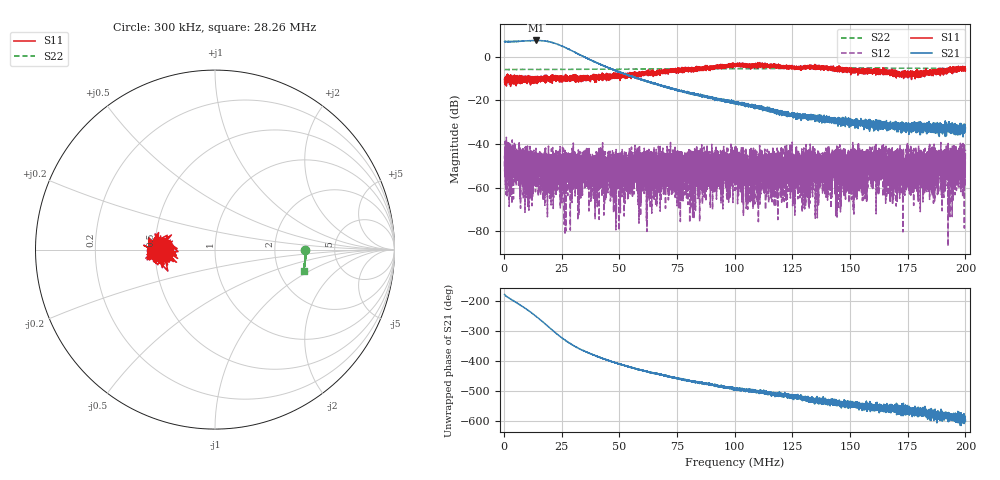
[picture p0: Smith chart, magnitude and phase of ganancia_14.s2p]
# Hz S DB R 50
! CMT, M5065, 19127446, 24.2.4/2
! Date: 10/29/2024 12:07:20 PM
! Data: Format (Calibration Info)
! Freq	S11:dB/Ang(F2)	S21:dB/Ang(F2)	S12:dB/Ang(F2)	S22:dB/Ang(F2)
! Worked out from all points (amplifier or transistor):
!   9000 points, 300 kHz to 200 MHz, reference 50 ohm
!   highest |S21| = 7.3 dB at 14.1 MHz (marker M1)
!   |S21| within 3 dB of that: start of sweep to 26.06 MHz
!   unconditionally stable (mu >= 1): start of sweep to end of sweep
!   at 33.59 MHz: K = 64.15, MAG = 2.3 dB, |S12| = -46.3 dB
!   at 100.2 MHz: K = 811.96, MAG = -17.4 dB, |S12| = -50.7 dB
!   at 200 MHz: K = 1596.99, MAG = -30.1 dB, |S12| = -42.7 dB
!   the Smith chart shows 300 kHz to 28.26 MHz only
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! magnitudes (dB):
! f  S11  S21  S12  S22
! 300 kHz  -10.4  6.8  -50.4  -6.0
! 3.651 MHz  -11.0  6.9  -46.6  -6.0
! 11.84 MHz  -10.7  7.3  -53.3  -5.9
! 14.1 MHz  -10.2  7.3  -53.2  -5.9
! 20.78 MHz  -9.1  6.4  -49.2  -5.9
! 23.02 MHz  -10.2  5.7  -45.2  -5.9
! 26.06 MHz  -10.2  4.3  -46.4  -5.9
! 33.59 MHz  -9.1  0.4  -46.3  -5.8
! 66.87 MHz  -8.1  -12.9  -47.8  -5.7
! 100.2 MHz  -3.5  -21.4  -50.7  -5.6
! 113.5 MHz  -4.6  -24.2  -53.1  -5.6
! 115.1 MHz  -4.3  -24.5  -53.5  -5.5
! 118.2 MHz  -4.2  -26.5  -51.1  -5.5
! 133.4 MHz  -4.9  -27.1  -45.3  -5.4
! 155.9 MHz  -6.1  -30.2  -48.8  -5.2
! 163.7 MHz  -7.2  -31.2  -52.5  -5.3
! 166.7 MHz  -7.9  -33.7  -56.3  -5.3
! 185.9 MHz  -6.7  -34.2  -62.4  -5.4
! 188.2 MHz  -5.8  -31.3  -44.5  -5.4
! 193.4 MHz  -4.7  -31.3  -45.2  -5.4
! 198.9 MHz  -5.5  -32.8  -42.6  -5.5
! 200 MHz  -6.1  -32.7  -42.7  -5.5
